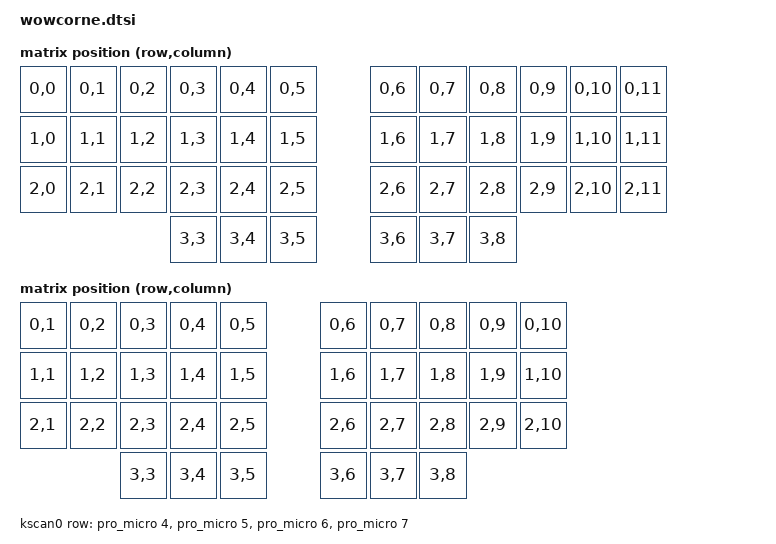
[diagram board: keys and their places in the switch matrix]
/*
 * Copyright (c) 2020 Pete Johanson
 *
 * SPDX-License-Identifier: MIT
 */

#include <dt-bindings/zmk/matrix_transform.h>
#define ZMK_MOUSE_DEFAULT_MOVE_VAL 1500  // 600
#define ZMK_MOUSE_DEFAULT_SCRL_VAL 20    // 10

#include <dt-bindings/zmk/mouse.h>
#include <behaviors/mouse_keys.dtsi>


#define CIRQUE_PINNACLE_TAP_ENABLE
#define POINTING_DEVICE_GESTURES_SCROLL_ENABLE
#define CIRQUE_PINNACLE_SECONDARY_TAP_ENABLE

&mmv {
    acceleration-exponent = <1>;      // 1
    time-to-max-speed-ms = <500>;     // 300
    delay-ms = <0>;                   // 0
};

&msc {
    acceleration-exponent = <1>;      // 0
    time-to-max-speed-ms = <40>;      // 300
    delay-ms = <0>;                   // 0
};

/ {
    chosen {
        zmk,kscan = &kscan0;
        zmk,matrix-transform = &default_transform;
    };

    default_transform: keymap_transform_0 {
        compatible = "zmk,matrix-transform";
        columns = <12>;
        rows = <4>;
// | SW1  | SW2  | SW3  | SW4  | SW5  | SW6  |   | SW6  | SW5  | SW4  | SW3  | SW2  | SW1  |
// | SW7  | SW8  | SW9  | SW10 | SW11 | SW12 |   | SW12 | SW11 | SW10 | SW9  | SW8  | SW7  |
// | SW13 | SW14 | SW15 | SW16 | SW17 | SW18 |   | SW18 | SW17 | SW16 | SW15 | SW14 | SW13 |
//                      | SW19 | SW20 | SW21 |   | SW21 | SW20 | SW19 |
        map = <
RC(0,0) RC(0,1) RC(0,2) RC(0,3) RC(0,4) RC(0,5)  RC(0,6) RC(0,7) RC(0,8) RC(0,9) RC(0,10) RC(0,11)
RC(1,0) RC(1,1) RC(1,2) RC(1,3) RC(1,4) RC(1,5)  RC(1,6) RC(1,7) RC(1,8) RC(1,9) RC(1,10) RC(1,11)
RC(2,0) RC(2,1) RC(2,2) RC(2,3) RC(2,4) RC(2,5)  RC(2,6) RC(2,7) RC(2,8) RC(2,9) RC(2,10) RC(2,11)
                        RC(3,3) RC(3,4) RC(3,5)  RC(3,6) RC(3,7) RC(3,8)
        >;
    };

    five_column_transform: keymap_transform_1 {
        compatible = "zmk,matrix-transform";
        columns = <10>;
        rows = <4>;
// | SW2  | SW3  | SW4  | SW5  | SW6  |   | SW6  | SW5  | SW4  | SW3  | SW2  |
// | SW8  | SW9  | SW10 | SW11 | SW12 |   | SW12 | SW11 | SW10 | SW9  | SW8  |
// | SW14 | SW15 | SW16 | SW17 | SW18 |   | SW18 | SW17 | SW16 | SW15 | SW14 |
//                      | SW19 | SW20 | SW21 |   | SW21 | SW20 | SW19 |
        map = <
RC(0,1) RC(0,2) RC(0,3) RC(0,4) RC(0,5)  RC(0,6) RC(0,7) RC(0,8) RC(0,9) RC(0,10)
RC(1,1) RC(1,2) RC(1,3) RC(1,4) RC(1,5)  RC(1,6) RC(1,7) RC(1,8) RC(1,9) RC(1,10)
RC(2,1) RC(2,2) RC(2,3) RC(2,4) RC(2,5)  RC(2,6) RC(2,7) RC(2,8) RC(2,9) RC(2,10)
                        RC(3,3) RC(3,4) RC(3,5)  RC(3,6) RC(3,7) RC(3,8)
        >;
    };

    kscan0: kscan {
        compatible = "zmk,kscan-gpio-matrix";

        diode-direction = "col2row";
        row-gpios
            = <&pro_micro 4 (GPIO_ACTIVE_HIGH | GPIO_PULL_DOWN)>
            , <&pro_micro 5 (GPIO_ACTIVE_HIGH | GPIO_PULL_DOWN)>
            , <&pro_micro 6 (GPIO_ACTIVE_HIGH | GPIO_PULL_DOWN)>
            , <&pro_micro 7 (GPIO_ACTIVE_HIGH | GPIO_PULL_DOWN)>
            ;

    };

    // TODO: per-key RGB node(s)?
};

/ {
    behaviors {
        // 트랙패드 탭을 감지하여 레이어 3으로 전환
        tap_layer_3: behavior_layer_switch {
            compatible = "zmk,behavior-layer";
            layer = <3>;  // 레이어 3으로 전환
            tap-time-ms = <200>;  // 탭을 감지할 시간 (밀리초 단위)
        };
    };

    chosen {
        zmk,kscan = &kscan0;
        zmk,matrix-transform = &default_transform;
    };

    // Cirque 트랙패드 탭 동작과 매핑
    &cirque {
        pointing-device {
            compatible = "zmk,pointing-device";
            // Gesture 및 Tap 이벤트 설정
            tap {
                behavior = <&tap_layer_3>;  // 탭 동작이 발생하면 behavior_layer_switch로 지정된 동작을 실행
            };

            // 제스처 스크롤, 탭 및 보조 탭 등의 기능도 설정
            gestures {
                pointing-device-gestures-scroll-enable;
            };
        };
    };
};
